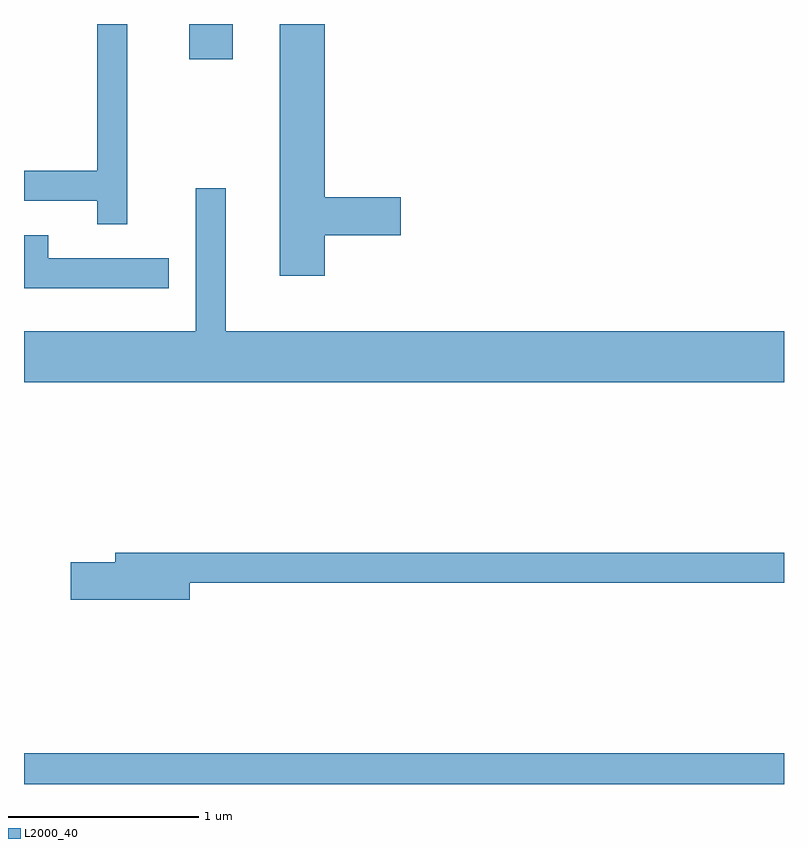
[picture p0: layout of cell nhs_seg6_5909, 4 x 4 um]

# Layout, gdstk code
import gdstk
lib = gdstk.Library(unit=1e-6, precision=1e-09)
def R(c, l, rs):  # rectangles x0, y0, x1, y1
    for r in rs: c.add(gdstk.rectangle(r[:2], r[2:], *l))
def P(c, l, *ps):  # polygons
    for p in ps: c.add(gdstk.Polygon(p, *l))
L2000_40 = (2000, 40)

nhs_seg6_5909 = lib.new_cell('nhs_seg6_5909')
R(nhs_seg6_5909, L2000_40, [(365.611,1530.162,369.611,1530.324), (366.481,1533.976,366.709,1534.162)])
P(nhs_seg6_5909, L2000_40, [(367.194,1533.051),(367.594,1533.051),(367.594,1533.249),(367.194,1533.249),(367.194,1534.162),(366.956,1534.162),(366.956,1532.836),(367.194,1532.836)],
  [(366.154,1534.162),(365.996,1534.162),(365.996,1533.389),(365.611,1533.389),(365.611,1533.231),(365.996,1533.231),(365.996,1533.108),(366.154,1533.108)],
  [(369.611,1532.544),(366.674,1532.544),(366.674,1533.298),(366.516,1533.298),(366.516,1532.544),(365.611,1532.544),(365.611,1532.276),(369.611,1532.276)],
  [(366.373,1532.929),(365.739,1532.929),(365.739,1533.049),(365.611,1533.049),(365.611,1532.771),(366.373,1532.771)],
  [(366.484,1531.221),(369.611,1531.221),(369.611,1531.379),(366.091,1531.379),(366.091,1531.329),(365.856,1531.329),(365.856,1531.131),(366.484,1531.131)])

lib.write_gds('nhs_seg6_5909.gds')
